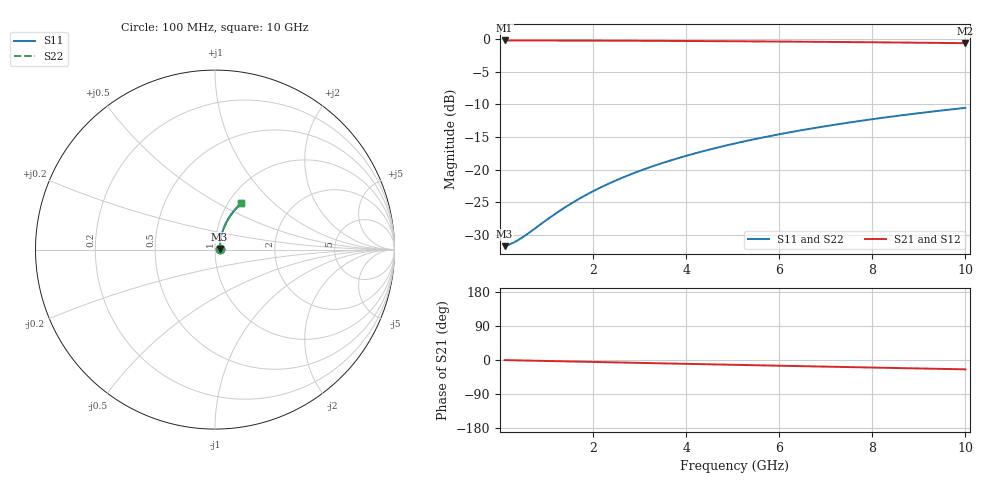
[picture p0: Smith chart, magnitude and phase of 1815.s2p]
# Hz S RI R 50.00
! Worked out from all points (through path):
!   100 points, 100 MHz to 10 GHz, reference 50 ohm
!   highest |S21| = -0.23 dB at 100 MHz (marker M1); lowest = -0.6 dB at 10 GHz (marker M2)
!   group delay of S21, straight-line fit = 6.86 ps
!   lowest |S11| = -31.7 dB at 100 MHz (marker M3), VSWR 1.05, Z = 52.6 + j0.32 ohm
!   |S11| at or under -10 dB: start of sweep to end of sweep
!   |S22| runs from -31.7 to -10.5 dB; largest |S21 - S12| = 0
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1e8  0.0258 0.00304  0.9742 -0.00433  0.9742 -0.00433  0.0258 0.00304
2e8  0.026 0.00607  0.974 -0.00865  0.974 -0.00865  0.026 0.00607
3e8  0.0262 0.00911  0.9738 -0.013  0.9738 -0.013  0.0262 0.00911
4e8  0.0264 0.0121  0.9736 -0.0173  0.9736 -0.0173  0.0264 0.0121
6e8  0.0268 0.0182  0.9732 -0.0259  0.9732 -0.0259  0.0268 0.0182
1e9  0.0279 0.0303  0.972 -0.0432  0.972 -0.0432  0.0279 0.0303
1.3e9  0.029 0.0393  0.9709 -0.0561  0.9709 -0.0561  0.029 0.0393
1.5e9  0.0298 0.0453  0.97 -0.0646  0.97 -0.0646  0.0298 0.0453
1.8e9  0.0312 0.0542  0.9685 -0.0774  0.9685 -0.0774  0.0312 0.0542
2.1e9  0.0329 0.0632  0.9667 -0.0902  0.9667 -0.0902  0.0329 0.0632
2.5e9  0.0354 0.0749  0.964 -0.1072  0.964 -0.1072  0.0354 0.0749
2.9e9  0.0384 0.0866  0.9609 -0.124  0.9609 -0.124  0.0384 0.0866
3.4e9  0.0426 0.101  0.9563 -0.1448  0.9563 -0.1448  0.0426 0.101
3.8e9  0.0465 0.1123  0.9523 -0.1613  0.9523 -0.1613  0.0465 0.1123
4.2e9  0.0507 0.1235  0.9478 -0.1776  0.9478 -0.1776  0.0507 0.1235
4.6e9  0.0553 0.1344  0.9429 -0.1938  0.9429 -0.1938  0.0553 0.1344
5.1e9  0.0615 0.1478  0.9362 -0.2137  0.9362 -0.2137  0.0615 0.1478
5.9e9  0.0726 0.1686  0.9244 -0.2448  0.9244 -0.2448  0.0726 0.1686
6.7e9  0.085 0.1883  0.9111 -0.2749  0.9111 -0.2749  0.085 0.1883
7.5e9  0.0986 0.207  0.8966 -0.304  0.8966 -0.304  0.0986 0.207
8.4e9  0.1151 0.2267  0.8788 -0.3353  0.8788 -0.3353  0.1151 0.2267
1e10  0.1473 0.2578  0.844 -0.3873  0.844 -0.3873  0.1473 0.2578
